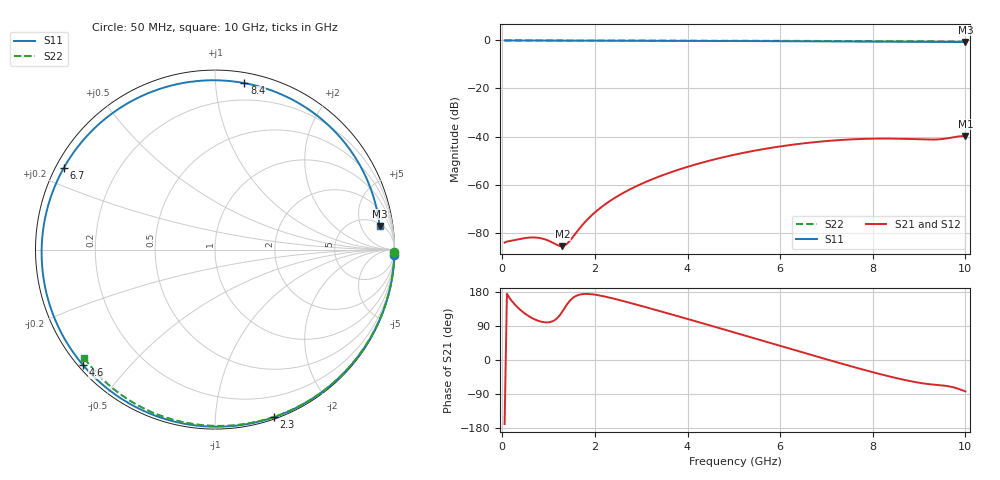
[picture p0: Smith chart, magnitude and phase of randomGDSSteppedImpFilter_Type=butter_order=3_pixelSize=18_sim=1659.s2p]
! freq	dB(S11)	phase(S11)	dB(S12)	phase(S12)
!  dB(S21)	phase(S21)	dB(S22)	phase(S22)
!S-par simulation data
#  GHz  S  DB  R 50
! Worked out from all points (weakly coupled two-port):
!   200 points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, 50 MHz to 10 GHz, reference 50 ohm
!   highest |S21| = -39.77 dB at 10 GHz (marker M1); lowest = -85.7 dB at 1.3 GHz (marker M2)
!   lowest |S11| = -0.7 dB at 10 GHz (marker M3), VSWR 26.17, Z = 292 + j543 ohm
!   |S11| at or under -10 dB: nowhere
!   |S22| runs from -0.5 to 0.0 dB; largest |S21 - S12| = 0
!   S11 on the Smith chart (normalised r, x): 50 MHz: 0, -73; 2.3 GHz: 0.02, -1.41; 4.6 GHz: 0.01, -0.38; 6.7 GHz: 0.02, +0.25; 8.4 GHz: 0.07, +1.19; 10 GHz: 6, +11
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0.05  -0.00 -1.6  -84.17 -169.0  -84.17 -169.0  -0.00 -0.8
0.65  -0.02 -20.4  -82.03 110.2  -82.03 110.2  -0.01 -10.5
1.3  -0.05 -40.5  -85.67 128.4  -85.67 128.4  -0.03 -20.9
1.6  -0.06 -49.7  -79.92 169.6  -79.92 169.6  -0.03 -25.6
1.75  -0.07 -54.2  -76.39 174.1  -76.39 174.1  -0.04 -28.0
2.3  -0.09 -70.7  -67.16 165.1  -67.16 165.1  -0.05 -36.5
2.85  -0.11 -87.0  -61.11 147.8  -61.11 147.8  -0.06 -44.9
3.4  -0.14 -103.2  -56.56 129.1  -56.56 129.1  -0.07 -53.2
4  -0.17 -120.8  -52.62 108.4  -52.62 108.4  -0.09 -62.0
4.6  -0.20 -138.7  -49.43 87.3  -49.43 87.3  -0.10 -70.6
5.05  -0.23 -152.5  -47.43 71.3  -47.43 71.3  -0.12 -76.9
5.9  -0.30 180.0  -44.42 40.9  -44.42 40.9  -0.15 -88.4
6.7  -0.38 151.5  -42.43 12.4  -42.43 12.4  -0.19 -99.0
7.15  -0.42 134.0  -41.66 -3.4  -41.66 -3.4  -0.22 -104.8
7.6  -0.46 115.4  -41.14 -18.9  -41.14 -18.9  -0.24 -110.5
8  -0.49 98.0  -40.90 -32.2  -40.90 -32.2  -0.28 -115.5
8.35  -0.52 82.3  -40.87 -43.1  -40.87 -43.1  -0.31 -119.9
8.4  -0.52 80.0  -40.87 -44.6  -40.87 -44.6  -0.31 -120.5
8.8  -0.54 61.6  -41.04 -55.5  -41.04 -55.5  -0.35 -125.5
9.25  -0.57 41.0  -41.28 -64.2  -41.28 -64.2  -0.39 -131.0
9.65  -0.61 23.1  -40.63 -69.6  -40.63 -69.6  -0.44 -135.9
10  -0.66 8.2  -39.77 -82.8  -39.77 -82.8  -0.48 -140.2
